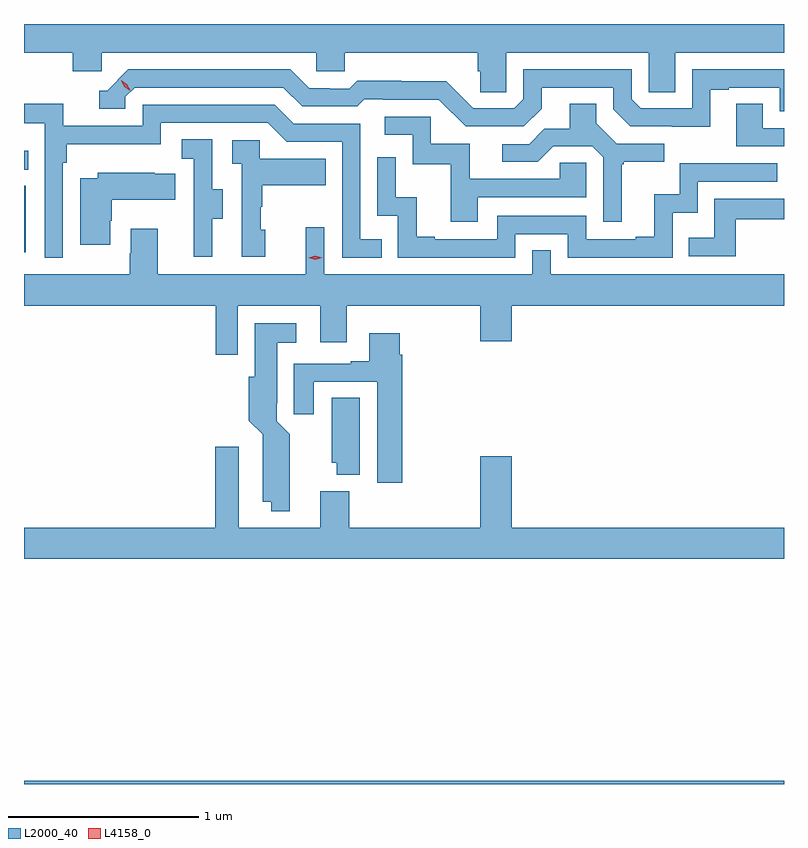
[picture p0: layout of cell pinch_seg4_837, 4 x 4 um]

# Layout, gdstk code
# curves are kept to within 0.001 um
import gdstk
lib = gdstk.Library(unit=1e-6, precision=1e-09)
def R(c, l, rs):  # rectangles x0, y0, x1, y1
    for r in rs: c.add(gdstk.rectangle(r[:2], r[2:], *l))
def P(c, l, *ps):  # polygons
    for p in ps: c.add(gdstk.Polygon(p, *l))
L2000_40 = (2000, 40)
L4158_0 = (4158, 0)

pinch_seg4_837 = lib.new_cell('pinch_seg4_837')
R(pinch_seg4_837, L2000_40, [(857.91,792.97,861.91,792.988), (857.91,795.768,857.92,796.119), (857.91,796.204,857.933,796.303)])
P(pinch_seg4_837, L2000_40, [(860.448,796.82),(861.198,796.82),(861.198,796.612),(861.337,796.612),(861.337,796.82),(861.91,796.82),(861.91,796.97),(857.91,796.97),(857.91,796.82),(858.167,796.82),(858.167,796.722),(858.318,796.722),(858.318,796.82),(859.449,796.82),(859.449,796.722),(859.599,796.722),(859.599,796.82),(860.297,796.82),(860.297,796.722),(860.311,796.722),(860.311,796.612),(860.448,796.612)],
  [(861.523,796.623),(861.619,796.623),(861.619,796.635),(861.888,796.635),(861.888,796.512),(861.91,796.512),(861.91,796.731),(861.426,796.731),(861.426,796.527),(861.156,796.527),(861.108,796.575),(861.108,796.731),(860.538,796.731),(860.538,796.575),(860.49,796.527),(860.274,796.527),(860.132,796.669),(859.896,796.669),(859.896,796.672),(859.663,796.672),(859.621,796.629),(859.518,796.629),(859.518,796.632),(859.411,796.632),(859.312,796.731),(858.459,796.731),(858.348,796.62),(858.305,796.62),(858.305,796.524),(858.444,796.524),(858.444,796.587),(858.492,796.635),(859.275,796.635),(859.374,796.536),(859.663,796.536),(859.702,796.575),(859.801,796.575),(859.801,796.572),(860.094,796.572),(860.235,796.431),(860.541,796.431),(860.635,796.525),(860.635,796.635),(861.012,796.635),(861.012,796.521),(861.102,796.431),(861.523,796.43)],
  [(858.114,796.241),(858.134,796.241),(858.134,796.337),(858.63,796.337),(858.63,796.449),(859.194,796.449),(859.293,796.35),(859.584,796.35),(859.584,795.741),(859.793,795.741),(859.793,795.837),(859.68,795.837),(859.68,796.446),(859.33,796.446),(859.231,796.545),(858.534,796.545),(858.534,796.434),(858.116,796.434),(858.116,796.55),(857.91,796.55),(857.91,796.448),(858.018,796.448),(858.018,795.741),(858.114,795.741)],
  [(861.055,796.233),(861.067,796.233),(861.067,796.244),(861.28,796.244),(861.28,796.341),(861.03,796.341),(860.923,796.448),(860.923,796.55),(860.783,796.55),(860.783,796.418),(860.648,796.418),(860.568,796.338),(860.427,796.338),(860.427,796.245),(860.614,796.245),(860.695,796.326),(860.901,796.326),(860.958,796.269),(860.958,795.93),(861.055,795.93)],
  [(861.91,796.422),(861.799,796.422),(861.799,796.55),(861.659,796.55),(861.659,796.326),(861.91,796.326)],
  [(860.299,796.059),(860.868,796.059),(860.868,796.239),(860.731,796.239),(860.731,796.155),(860.257,796.155),(860.257,796.341),(860.052,796.341),(860.052,796.482),(859.809,796.482),(859.809,796.386),(859.956,796.386),(859.956,796.233),(860.155,796.233),(860.155,795.93),(860.299,795.93)],
  [(858.901,795.946),(858.955,795.946),(858.955,796.101),(858.9,796.101),(858.9,796.364),(858.741,796.364),(858.741,796.261),(858.804,796.261),(858.804,795.957),(858.803,795.957),(858.803,795.744),(858.901,795.744)],
  [(859.18,795.888),(859.155,795.888),(859.155,796.007),(859.165,796.007),(859.165,796.121),(859.499,796.121),(859.499,796.261),(859.152,796.261),(859.152,796.359),(859.005,796.359),(859.005,796.235),(859.056,796.235),(859.056,795.744),(859.18,795.744)],
  [(860.496,795.864),(860.772,795.864),(860.772,795.741),(861.324,795.741),(861.324,795.977),(861.456,795.977),(861.456,796.14),(861.875,796.14),(861.875,796.236),(861.36,796.236),(861.36,796.075),(861.227,796.075),(861.227,795.85),(861.131,795.85),(861.131,795.837),(860.868,795.837),(860.868,795.96),(860.4,795.96),(860.4,795.837),(860.071,795.837),(860.071,795.85),(859.976,795.85),(859.976,796.058),(859.866,796.058),(859.866,796.27),(859.77,796.27),(859.77,795.96),(859.878,795.96),(859.878,795.741),(860.496,795.741)],
  [(858.364,795.935),(858.372,795.935),(858.372,796.046),(858.707,796.046),(858.707,796.183),(858.599,796.183),(858.599,796.186),(858.297,796.186),(858.297,796.159),(858.206,796.159),(858.206,795.807),(858.364,795.807)],
  [(861.655,795.942),(861.91,795.942),(861.91,796.05),(861.544,796.05),(861.544,795.844),(861.409,795.844),(861.409,795.747),(861.655,795.747)],
  [(859.035,795.488),(859.469,795.488),(859.469,795.294),(859.609,795.294),(859.609,795.488),(860.312,795.488),(860.312,795.3),(860.476,795.3),(860.476,795.488),(861.91,795.488),(861.91,795.652),(860.682,795.652),(860.682,795.779),(860.586,795.779),(860.586,795.652),(859.491,795.652),(859.491,795.901),(859.394,795.901),(859.394,795.652),(858.613,795.652),(858.613,795.892),(858.473,795.892),(858.473,795.764),(858.466,795.764),(858.466,795.652),(857.91,795.652),(857.91,795.488),(858.919,795.488),(858.919,795.228),(859.035,795.228)],
  [(859.308,794.708),(859.309,794.81),(859.239,794.88),(859.239,794.974),(859.243,794.974),(859.243,795.293),(859.342,795.293),(859.342,795.394),(859.124,795.394),(859.124,795.114),(859.094,795.114),(859.094,794.882),(859.166,794.81),(859.166,794.456),(859.211,794.456),(859.211,794.405),(859.308,794.405)],
  [(859.901,795.23),(859.888,795.23),(859.888,795.343),(859.727,795.343),(859.727,795.196),(859.631,795.196),(859.631,795.183),(859.331,795.183),(859.331,794.916),(859.435,794.916),(859.435,795.087),(859.769,795.087),(859.769,794.556),(859.901,794.556)],
  [(859.678,795.002),(859.529,795.002),(859.529,794.661),(859.556,794.661),(859.556,794.597),(859.678,794.597)],
  [(861.91,794.32),(860.476,794.32),(860.476,794.695),(860.312,794.695),(860.312,794.32),(859.622,794.32),(859.622,794.512),(859.469,794.512),(859.469,794.32),(859.039,794.32),(859.039,794.746),(858.917,794.746),(858.917,794.32),(857.91,794.32),(857.91,794.156),(861.91,794.156)])
P(pinch_seg4_837, L4158_0, [(859.444,795.729),(859.408,795.739),(859.408,795.739),(859.408,795.74),(859.444,795.749),(859.479,795.74),(859.48,795.739),(859.479,795.739)],
  [(858.467,796.621),(858.437,796.64),(858.421,796.673),(858.421,796.673),(858.421,796.673),(858.452,796.654),(858.468,796.621),(858.468,796.621)])

lib.write_gds('pinch_seg4_837.gds')
